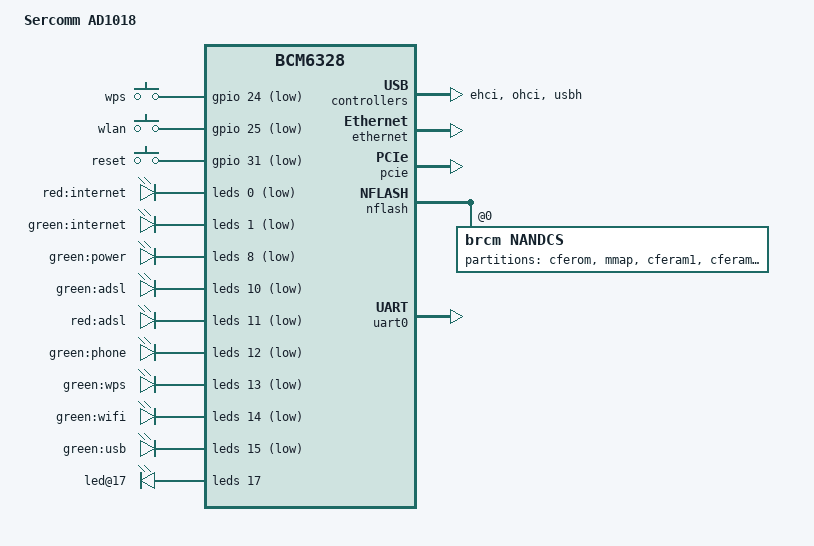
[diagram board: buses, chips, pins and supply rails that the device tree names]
// SPDX-License-Identifier: GPL-2.0-or-later

#include "bcm6328.dtsi"

/ {
	model = "Sercomm AD1018";
	compatible = "sercomm,ad1018", "brcm,bcm6328";

	aliases {
		led-boot = &led_power_green;
		led-failsafe = &led_power_green;
		led-running = &led_power_green;
		led-upgrade = &led_power_green;
	};

	keys {
		compatible = "gpio-keys-polled";
		poll-interval = <100>;

		wps {
			label = "wps";
			gpios = <&gpio 24 GPIO_ACTIVE_LOW>;
			linux,code = <KEY_WPS_BUTTON>;
			debounce-interval = <60>;
		};

		wlan {
			label = "wlan";
			gpios = <&gpio 25 GPIO_ACTIVE_LOW>;
			linux,code = <KEY_WLAN>;
			debounce-interval = <60>;
		};

		reset {
			label = "reset";
			gpios = <&gpio 31 GPIO_ACTIVE_LOW>;
			linux,code = <KEY_RESTART>;
			debounce-interval = <60>;
		};
	};

	bcm432217-sprom {
		compatible = "brcm,bcma-sprom";

		pci-bus = <1>;
		pci-dev = <0>;

		nvmem-cells = <&macaddr_cferom_6a0>;
		nvmem-cell-names = "mac-address";
		mac-address-increment = <1>;

		brcm,sprom = "brcm/bcm43217-sprom.bin";
		brcm,sprom-fixups = <6 0x1c00>,
				    <65 0x1256>,
				    <96 0x2046>,
				    <97 0xfe69>,
				    <98 0x1726>,
				    <99 0xfa5c>,
				    <112 0x2046>,
				    <113 0xfea8>,
				    <114 0x1978>,
				    <115 0xfa26>,
				    <161 0x2222>,
				    <169 0x2222>,
				    <171 0x2222>,
				    <173 0x2222>,
				    <174 0x4444>,
				    <175 0x2222>,
				    <176 0x4444>;
	};
};

&ehci {
	status = "okay";
};

&ethernet {
	status = "okay";

	nvmem-cells = <&macaddr_cferom_6a0>;
	nvmem-cell-names = "mac-address";
};

&leds {
	status = "okay";

	pinctrl-names = "default";
	pinctrl-0 = <&pinctrl_leds &pinctrl_serial_led
		     &pinctrl_ephy0_spd_led &pinctrl_ephy1_act_led
		     &pinctrl_ephy2_act_led &pinctrl_ephy3_act_led>;

	brcm,serial-leds;
	brcm,serial-shift-inv;
	brcm,serial-dat-low;

	led@0 {
		reg = <0>;
		active-low;
		label = "red:internet";
	};

	led@1 {
		reg = <1>;
		active-low;
		label = "green:internet";
	};

	led_power_green: led@8 {
		reg = <8>;
		active-low;
		label = "green:power";
		default-state = "on";
	};

	led@10 {
		reg = <10>;
		active-low;
		label = "green:adsl";
	};

	led@11 {
		reg = <11>;
		active-low;
		label = "red:adsl";
	};

	led@12 {
		reg = <12>;
		active-low;
		label = "green:phone";
	};

	led@13 {
		reg = <13>;
		active-low;
		label = "green:wps";
	};

	led@14 {
		reg = <14>;
		active-low;
		label = "green:wifi";
	};

	led@15 {
		reg = <15>;
		active-low;
		label = "green:usb";
	};

	led@17 {
		/* EPHY0 Spd */
		reg = <17>;
		brcm,hardware-controlled;
	};
};

&ohci {
	status = "okay";
};

&pcie {
	status = "okay";
};

&pinctrl {
	pinctrl_leds: leds {
		function = "led";
		pins = "gpio0", "gpio1";
	};
};

&nflash {
	status = "okay";

	nandcs@0 {
		compatible = "brcm,nandcs";
		reg = <0>;
		nand-ecc-step-size = <512>;
		nand-ecc-strength = <15>;
		nand-on-flash-bbt;

		#address-cells = <1>;
		#size-cells = <1>;

		partitions {
			compatible = "fixed-partitions";
			#address-cells = <1>;
			#size-cells = <1>;

			cferom: partition@0 {
				label = "cferom";
				reg = <0x0000000 0x0020000>;
				read-only;
			};

			partition@20000 {
				label = "mmap";
				reg = <0x0020000 0x00a0000>;
				read-only;
			};

			partition@c0000 {
				label = "cferam1";
				reg = <0x00c0000 0x0140000>;
				read-only;
			};

			partition@200000 {
				label = "cferam2";
				reg = <0x0200000 0x0140000>;
				read-only;
			};

			partition@340000 {
				label = "serial";
				reg = <0x0340000 0x00a0000>;
				read-only;
			};

			partition@3e0000 {
				label = "protect";
				reg = <0x03e0000 0x0140000>;
				read-only;
			};

			partition@6920000 {
				label = "bootflag1";
				reg = <0x6920000 0x0140000>;
				read-only;
			};

			partition@6a60000 {
				label = "bootflag2";
				reg = <0x6a60000 0x0140000>;
				read-only;
			};

			partition@520000 {
				compatible = "sercomm,wfi";
				label = "wfi";
				reg = <0x0520000 0x6400000>;
			};

			partition@6ba0000 {
				label = "xml_cfg";
				reg = <0x6ba0000 0x0280000>;
				read-only;
			};

			partition@6e20000 {
				label = "app_dat";
				reg = <0x6e20000 0x0280000>;
				read-only;
			};
		};
	};
};

&switch0 {
	ports {
		port@0 {
			reg = <0>;
			label = "fibre";

			phy-handle = <&phy1>;
			phy-mode = "mii";
		};

		port@1 {
			reg = <1>;
			label = "lan3";

			phy-handle = <&phy2>;
			phy-mode = "mii";
		};

		port@2 {
			reg = <2>;
			label = "lan2";

			phy-handle = <&phy3>;
			phy-mode = "mii";
		};

		port@3 {
			reg = <3>;
			label = "lan1";

			phy-handle = <&phy4>;
			phy-mode = "mii";
		};
	};
};

&uart0 {
	status = "okay";
};

&usbh {
	status = "okay";
};

&cferom {
	compatible = "nvmem-cells";
	#address-cells = <1>;
	#size-cells = <1>;

	macaddr_cferom_6a0: macaddr@6a0 {
		reg = <0x6a0 0x6>;
	};
};
